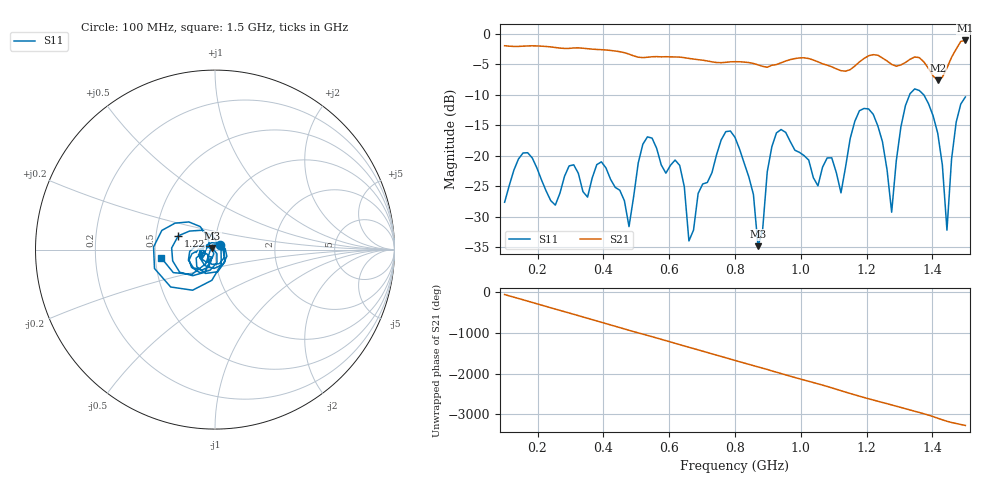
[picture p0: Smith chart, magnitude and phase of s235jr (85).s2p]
! NanoVNA-App
! Date: 2025-09-26 09:45:27
! Start: 100MHz Stop: 1,5GHz Points: 101
! S-Parameter data: F S11 S21 S12 S22
# Hz S RI R 50
!  Frequency  S11_Real  S11_Imag  S21_Real  S21_Imag  S12_Real  S12_Imag  S22_Real  S22_Imag
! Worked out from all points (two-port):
!   101 points, 100 MHz to 1.5 GHz, reference 50 ohm
!   highest |S21| = -1.09 dB at 1.5 GHz (marker M1); lowest = -7.6 dB at 1.416 GHz (marker M2)
!   |S21| within 3 dB of the highest: start of sweep to 667 MHz; 1.191 GHz to 1.251 GHz (60.43 MHz wide, 4.95 % of centre)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
!   lowest |S11| = -34.9 dB at 870 MHz (marker M3), VSWR 1.04, Z = 48.5 + j0.935 ohm
!   |S11| at or under -10 dB: start of sweep to 1.331 GHz; 1.373 GHz to end of sweep
!   S12 and S22 are empty: the file has one direction only
!   S11 on the Smith chart (normalised r, x): 100 MHz: 1.06, +0.06; 1.22 GHz: 0.65, +0.11; 1.5 GHz: 0.54, -0.05
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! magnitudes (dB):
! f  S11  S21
! 100 MHz  -27.6  -2.0
! 156 MHz  -19.6  -2.0
! 338 MHz  -25.9  -2.4
! 394 MHz  -21.0  -2.6
! 478 MHz  -31.6  -3.3
! 520 MHz  -18.1  -3.9
! 576 MHz  -21.5  -3.8
! 632 MHz  -21.6  -3.8
! 660 MHz  -34.0  -4.0
! 800 MHz  -17.0  -4.6
! 870 MHz  -34.9  -5.1
! 926 MHz  -16.3  -5.0
! 1.038 GHz  -23.6  -4.3
! 1.122 GHz  -26.1  -6.1
! 1.164 GHz  -14.4  -5.3
! 1.22 GHz  -13.2  -3.4
! 1.276 GHz  -29.3  -5.0
! 1.332 GHz  -9.8  -4.2
! 1.416 GHz  -16.3  -7.6
! 1.444 GHz  -32.2  -5.6
! 1.472 GHz  -14.5  -2.5
! 1.5 GHz  -10.4  -1.1
